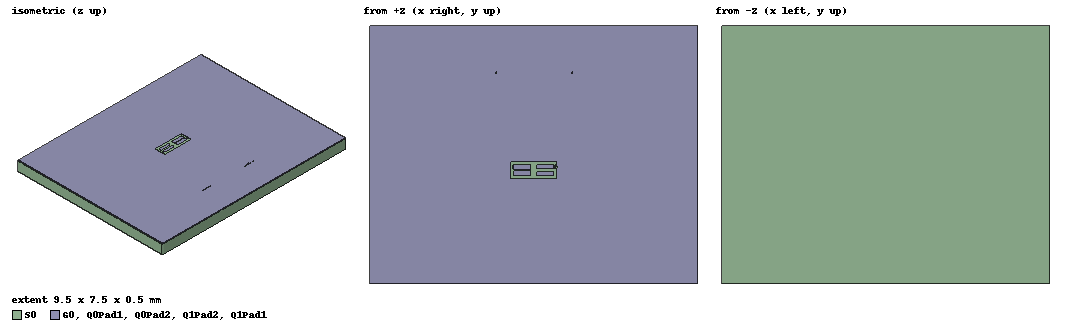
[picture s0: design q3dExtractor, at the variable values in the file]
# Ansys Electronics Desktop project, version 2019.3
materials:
  vacuum: permittivity=1
  copper: permeability=0.999991 conductivity=58000000
  silicon: permittivity=11.9
  perfect conductor: conductivity=1e+30

design q3dExtractor (Q3D Extractor, model units mm)
options: SParamCalcMethod=EqTransLine Calculate_Lossy_Dielectrics
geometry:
  S0 [silicon] = polyline(z=0um, xy in um: (-4750, -3750) (-4750, 3750) (4750, 3750) (4750, -3750) (-4750, -3750), closed, covered)
  S0.sweep_along_vector((0mm, 0mm, 500um))
  G0 [perfect conductor] = polyline(z=500um, xy in um: (-4750, -3750) (-4750, 3750) (4750, 3750) (4750, -3750) (-4750, -3750), closed, covered)
  Q0Pad1 [perfect conductor] = polyline(z=500um, xy in um: (-580, -435) (-580, -295) (-80, -295) (-80, -435) (-328, -435) (-328, -446) (-332, -446) (-332, -435) (-580, -435), closed, covered)
  Q0Pad1TrenchComponent = polyline(z=499.9um, xy in um: (-580, -435) (-580, -295) (-80, -295) (-80, -435) (-328, -435) (-328, -446) (-332, -446) (-332, -435) (-580, -435), closed, covered)
  Q0Pad1TrenchPeriphery0 = polyline(z=499.9um, xy in um: (-680, -535) (-680, -195) (20, -195) (20, -535) (-680, -535), closed, covered)
  Q0Pad1TrenchPeriphery1 = polyline(z=499.9um, xy in um: (-362, -450) (-362, -435) (-298, -435) (-298, -450) (-362, -450), closed, covered)
  Q0Pad1TrenchPeriphery0.sweep_along_vector((0mm, 0mm, 0.1um))
  S0.subtract(Q0Pad1TrenchPeriphery0)
  Q0Pad1TrenchPeriphery1.sweep_along_vector((0mm, 0mm, 0.1um))
  S0.subtract(Q0Pad1TrenchPeriphery1)
  Q0Pad1periphery0 = polyline(z=500um, xy in um: (-680, -535) (-680, -195) (20, -195) (20, -535) (-680, -535), closed, covered)
  G0.subtract(Q0Pad1periphery0)
  Q0Pad1periphery1 = polyline(z=500um, xy in um: (-362, -450) (-362, -435) (-298, -435) (-298, -450) (-362, -450), closed, covered)
  G0.subtract(Q0Pad1periphery1)
  Q0Pad2 [perfect conductor] = polyline(z=500um, xy in um: (-80, -465) (-80, -605) (-580, -605) (-580, -465) (-332, -465) (-332, -454) (-328, -454) (-328, -465) (-80, -465), closed, covered)
  Q0Pad2TrenchComponent = polyline(z=499.9um, xy in um: (-80, -465) (-80, -605) (-580, -605) (-580, -465) (-332, -465) (-332, -454) (-328, -454) (-328, -465) (-80, -465), closed, covered)
  Q0Pad2TrenchPeriphery0 = polyline(z=499.9um, xy in um: (20, -365) (20, -705) (-680, -705) (-680, -365) (20, -365), closed, covered)
  Q0Pad2TrenchPeriphery1 = polyline(z=499.9um, xy in um: (-298, -450) (-298, -465) (-362, -465) (-362, -450) (-298, -450), closed, covered)
  Q0Pad2TrenchPeriphery0.sweep_along_vector((0mm, 0mm, 0.1um))
  S0.subtract(Q0Pad2TrenchPeriphery0)
  Q0Pad2TrenchPeriphery1.sweep_along_vector((0mm, 0mm, 0.1um))
  S0.subtract(Q0Pad2TrenchPeriphery1)
  Q0Pad2periphery0 = polyline(z=500um, xy in um: (20, -365) (20, -705) (-680, -705) (-680, -365) (20, -365), closed, covered)
  G0.subtract(Q0Pad2periphery0)
  Q0Pad2periphery1 = polyline(z=500um, xy in um: (-298, -450) (-298, -465) (-362, -465) (-362, -450) (-298, -450), closed, covered)
  G0.subtract(Q0Pad2periphery1)
  Q1Pad1 [perfect conductor] = polyline(z=500um, xy in um: (80, -417) (80, -297) (580, -297) (580, -417) (332, -417) (332, -446) (328, -446) (328, -417) (80, -417), closed, covered)
  Q1Pad1TrenchComponent = polyline(z=499.9um, xy in um: (80, -417) (80, -297) (580, -297) (580, -417) (332, -417) (332, -446) (328, -446) (328, -417) (80, -417), closed, covered)
  Q1Pad1TrenchPeriphery0 = polyline(z=499.9um, xy in um: (-20, -517) (-20, -195) (680, -195) (680, -517) (-20, -517), closed, covered)
  Q1Pad1TrenchPeriphery1 = polyline(z=499.9um, xy in um: (298, -450) (298, -417) (362, -417) (362, -450) (298, -450), closed, covered)
  Q1Pad1TrenchPeriphery0.sweep_along_vector((0mm, 0mm, 0.1um))
  S0.subtract(Q1Pad1TrenchPeriphery0)
  Q1Pad1TrenchPeriphery1.sweep_along_vector((0mm, 0mm, 0.1um))
  S0.subtract(Q1Pad1TrenchPeriphery1)
  Q1Pad1periphery0 = polyline(z=500um, xy in um: (-20, -517) (-20, -195) (680, -195) (680, -517) (-20, -517), closed, covered)
  G0.subtract(Q1Pad1periphery0)
  Q1Pad1periphery1 = polyline(z=500um, xy in um: (298, -450) (298, -417) (362, -417) (362, -450) (298, -450), closed, covered)
  G0.subtract(Q1Pad1periphery1)
  Q1Pad2 [perfect conductor] = polyline(z=500um, xy in um: (580, -483) (580, -603) (80, -603) (80, -483) (328, -483) (328, -454) (332, -454) (332, -483) (580, -483), closed, covered)
  Q1Pad2TrenchComponent = polyline(z=499.9um, xy in um: (580, -483) (580, -603) (80, -603) (80, -483) (328, -483) (328, -454) (332, -454) (332, -483) (580, -483), closed, covered)
  Q1Pad2TrenchPeriphery0 = polyline(z=499.9um, xy in um: (680, -383) (680, -705) (-20, -705) (-20, -383) (680, -383), closed, covered)
  Q1Pad2TrenchPeriphery1 = polyline(z=499.9um, xy in um: (362, -450) (362, -483) (298, -483) (298, -450) (362, -450), closed, covered)
  Q1Pad2TrenchPeriphery0.sweep_along_vector((0mm, 0mm, 0.1um))
  S0.subtract(Q1Pad2TrenchPeriphery0)
  Q1Pad2TrenchPeriphery1.sweep_along_vector((0mm, 0mm, 0.1um))
  S0.subtract(Q1Pad2TrenchPeriphery1)
  Q1Pad2periphery0 = polyline(z=500um, xy in um: (680, -383) (680, -705) (-20, -705) (-20, -383) (680, -383), closed, covered)
  G0.subtract(Q1Pad2periphery0)
  Q1Pad2periphery1 = polyline(z=500um, xy in um: (362, -450) (362, -483) (298, -483) (298, -450) (362, -450), closed, covered)
  G0.subtract(Q1Pad2periphery1)
  R0Pad1 [perfect conductor] = polyline(z=500um, xy in um: (-895, 2406) (-895, 2396) (-1090, 2396) (-1090, 2371) (-1090, 2371) (-1090, 2346) (-1100, 2346) (-1100, 2371) (-1100, 2371) (-1100, 2396) (-1295, 2396) (-1295, 2406) (-895, 2406), closed, covered)
  R0Pad1TrenchComponent = polyline(z=499.9um, xy in um: (-895, 2406) (-895, 2396) (-1090, 2396) (-1090, 2371) (-1090, 2371) (-1090, 2346) (-1100, 2346) (-1100, 2371) (-1100, 2371) (-1100, 2396) (-1295, 2396) (-1295, 2406) (-895, 2406), closed, covered)
  R0Pad1TrenchPeriphery0 = polyline(z=499.9um, xy in um: (-871, 2412) (-871, 2390) (-1319, 2390) (-1319, 2412) (-871, 2412), closed, covered)
  R0Pad1TrenchPeriphery1 = polyline(z=499.9um, xy in um: (-1084, 2402) (-1084, 2365) (-1106, 2365) (-1106, 2402) (-1084, 2402), closed, covered)
  R0Pad1TrenchPeriphery2 = polyline(z=499.9um, xy in um: (-1084, 2372) (-1084, 2345) (-1106, 2345) (-1106, 2372) (-1084, 2372), closed, covered)
  R0Pad1TrenchPeriphery0.sweep_along_vector((0mm, 0mm, 0.1um))
  S0.subtract(R0Pad1TrenchPeriphery0)
  R0Pad1TrenchPeriphery1.sweep_along_vector((0mm, 0mm, 0.1um))
  S0.subtract(R0Pad1TrenchPeriphery1)
  R0Pad1TrenchPeriphery2.sweep_along_vector((0mm, 0mm, 0.1um))
  S0.subtract(R0Pad1TrenchPeriphery2)
  R0Pad1periphery0 = polyline(z=500um, xy in um: (-871, 2412) (-871, 2390) (-1319, 2390) (-1319, 2412) (-871, 2412), closed, covered)
  G0.subtract(R0Pad1periphery0)
  R0Pad1periphery1 = polyline(z=500um, xy in um: (-1084, 2402) (-1084, 2365) (-1106, 2365) (-1106, 2402) (-1084, 2402), closed, covered)
  G0.subtract(R0Pad1periphery1)
  R0Pad1periphery2 = polyline(z=500um, xy in um: (-1084, 2372) (-1084, 2345) (-1106, 2345) (-1106, 2372) (-1084, 2372), closed, covered)
  G0.subtract(R0Pad1periphery2)
  R0Pad2 [perfect conductor] = polyline(z=500um, xy in um: (-588.46475, -400.53525) (-618.46475, -400.53525) (-618.46475, -355.53525) (-643.46475, -355.53525) (-643.46475, -355.53525) (-668.46475, -355.53525) (-668.46475, -345.53525) (-643.46475, -345.53525) (-643.46475, -345.53525) (-618.46475, -345.53525) (-618.46475, -300.53525) (-588.46475, -300.53525) (-588.46475, -400.53525), closed, covered)
  R0Pad2TrenchComponent = polyline(z=499.9um, xy in um: (-588.46475, -400.53525) (-618.46475, -400.53525) (-618.46475, -355.53525) (-643.46475, -355.53525) (-643.46475, -355.53525) (-668.46475, -355.53525) (-668.46475, -345.53525) (-643.46475, -345.53525) (-643.46475, -345.53525) (-618.46475, -345.53525) (-618.46475, -300.53525) (-588.46475, -300.53525) (-588.46475, -400.53525), closed, covered)
  R0Pad2TrenchPeriphery0 = polyline(z=499.9um, xy in um: (-558.46475, -430.53525) (-648.46475, -430.53525) (-648.46475, -270.53525) (-558.46475, -270.53525) (-558.46475, -430.53525), closed, covered)
  R0Pad2TrenchPeriphery1 = polyline(z=499.9um, xy in um: (-612.46475, -361.53525) (-649.46475, -361.53525) (-649.46475, -339.53525) (-612.46475, -339.53525) (-612.46475, -361.53525), closed, covered)
  R0Pad2TrenchPeriphery2 = polyline(z=499.9um, xy in um: (-642.46475, -361.53525) (-669.46475, -361.53525) (-669.46475, -339.53525) (-642.46475, -339.53525) (-642.46475, -361.53525), closed, covered)
  R0Pad2TrenchPeriphery0.sweep_along_vector((0mm, 0mm, 0.1um))
  S0.subtract(R0Pad2TrenchPeriphery0)
  R0Pad2TrenchPeriphery1.sweep_along_vector((0mm, 0mm, 0.1um))
  S0.subtract(R0Pad2TrenchPeriphery1)
  R0Pad2TrenchPeriphery2.sweep_along_vector((0mm, 0mm, 0.1um))
  S0.subtract(R0Pad2TrenchPeriphery2)
  R0Pad2periphery0 = polyline(z=500um, xy in um: (-558.46475, -430.53525) (-648.46475, -430.53525) (-648.46475, -270.53525) (-558.46475, -270.53525) (-558.46475, -430.53525), closed, covered)
  G0.subtract(R0Pad2periphery0)
  R0Pad2periphery1 = polyline(z=500um, xy in um: (-612.46475, -361.53525) (-649.46475, -361.53525) (-649.46475, -339.53525) (-612.46475, -339.53525) (-612.46475, -361.53525), closed, covered)
  G0.subtract(R0Pad2periphery1)
  R0Pad2periphery2 = polyline(z=500um, xy in um: (-642.46475, -361.53525) (-669.46475, -361.53525) (-669.46475, -339.53525) (-642.46475, -339.53525) (-642.46475, -361.53525), closed, covered)
  G0.subtract(R0Pad2periphery2)
  R1Pad1 [perfect conductor] = polyline(z=500um, xy in um: (1315, 2406) (1315, 2396) (1120, 2396) (1120, 2371) (1120, 2371) (1120, 2346) (1110, 2346) (1110, 2371) (1110, 2371) (1110, 2396) (915, 2396) (915, 2406) (1315, 2406), closed, covered)
  R1Pad1TrenchComponent = polyline(z=499.9um, xy in um: (1315, 2406) (1315, 2396) (1120, 2396) (1120, 2371) (1120, 2371) (1120, 2346) (1110, 2346) (1110, 2371) (1110, 2371) (1110, 2396) (915, 2396) (915, 2406) (1315, 2406), closed, covered)
  R1Pad1TrenchPeriphery0 = polyline(z=499.9um, xy in um: (1339, 2412) (1339, 2390) (891, 2390) (891, 2412) (1339, 2412), closed, covered)
  R1Pad1TrenchPeriphery1 = polyline(z=499.9um, xy in um: (1126, 2402) (1126, 2365) (1104, 2365) (1104, 2402) (1126, 2402), closed, covered)
  R1Pad1TrenchPeriphery2 = polyline(z=499.9um, xy in um: (1126, 2372) (1126, 2345) (1104, 2345) (1104, 2372) (1126, 2372), closed, covered)
  R1Pad1TrenchPeriphery0.sweep_along_vector((0mm, 0mm, 0.1um))
  S0.subtract(R1Pad1TrenchPeriphery0)
  R1Pad1TrenchPeriphery1.sweep_along_vector((0mm, 0mm, 0.1um))
  S0.subtract(R1Pad1TrenchPeriphery1)
  R1Pad1TrenchPeriphery2.sweep_along_vector((0mm, 0mm, 0.1um))
  S0.subtract(R1Pad1TrenchPeriphery2)
  R1Pad1periphery0 = polyline(z=500um, xy in um: (1339, 2412) (1339, 2390) (891, 2390) (891, 2412) (1339, 2412), closed, covered)
  G0.subtract(R1Pad1periphery0)
  R1Pad1periphery1 = polyline(z=500um, xy in um: (1126, 2402) (1126, 2365) (1104, 2365) (1104, 2402) (1126, 2402), closed, covered)
  G0.subtract(R1Pad1periphery1)
  R1Pad1periphery2 = polyline(z=500um, xy in um: (1126, 2372) (1126, 2345) (1104, 2345) (1104, 2372) (1126, 2372), closed, covered)
  G0.subtract(R1Pad1periphery2)
  R1Pad2 [perfect conductor] = polyline(z=500um, xy in um: (608.14644, -301.35356) (638.14644, -301.35356) (638.14644, -346.35356) (663.14644, -346.35356) (663.14644, -346.35356) (688.14644, -346.35356) (688.14644, -356.35356) (663.14644, -356.35356) (663.14644, -356.35356) (638.14644, -356.35356) (638.14644, -401.35356) (608.14644, -401.35356) (608.14644, -301.35356), closed, covered)
  R1Pad2TrenchComponent = polyline(z=499.9um, xy in um: (608.14644, -301.35356) (638.14644, -301.35356) (638.14644, -346.35356) (663.14644, -346.35356) (663.14644, -346.35356) (688.14644, -346.35356) (688.14644, -356.35356) (663.14644, -356.35356) (663.14644, -356.35356) (638.14644, -356.35356) (638.14644, -401.35356) (608.14644, -401.35356) (608.14644, -301.35356), closed, covered)
  R1Pad2TrenchPeriphery0 = polyline(z=499.9um, xy in um: (578.14644, -271.35356) (668.14644, -271.35356) (668.14644, -431.35356) (578.14644, -431.35356) (578.14644, -271.35356), closed, covered)
  R1Pad2TrenchPeriphery1 = polyline(z=499.9um, xy in um: (632.14644, -340.35356) (669.14644, -340.35356) (669.14644, -362.35356) (632.14644, -362.35356) (632.14644, -340.35356), closed, covered)
  R1Pad2TrenchPeriphery2 = polyline(z=499.9um, xy in um: (662.14644, -340.35356) (689.14644, -340.35356) (689.14644, -362.35356) (662.14644, -362.35356) (662.14644, -340.35356), closed, covered)
  R1Pad2TrenchPeriphery0.sweep_along_vector((0mm, 0mm, 0.1um))
  S0.subtract(R1Pad2TrenchPeriphery0)
  R1Pad2TrenchPeriphery1.sweep_along_vector((0mm, 0mm, 0.1um))
  S0.subtract(R1Pad2TrenchPeriphery1)
  R1Pad2TrenchPeriphery2.sweep_along_vector((0mm, 0mm, 0.1um))
  S0.subtract(R1Pad2TrenchPeriphery2)
  R1Pad2periphery0 = polyline(z=500um, xy in um: (578.14644, -271.35356) (668.14644, -271.35356) (668.14644, -431.35356) (578.14644, -431.35356) (578.14644, -271.35356), closed, covered)
  G0.subtract(R1Pad2periphery0)
  R1Pad2periphery1 = polyline(z=500um, xy in um: (632.14644, -340.35356) (669.14644, -340.35356) (669.14644, -362.35356) (632.14644, -362.35356) (632.14644, -340.35356), closed, covered)
  G0.subtract(R1Pad2periphery1)
  R1Pad2periphery2 = polyline(z=500um, xy in um: (662.14644, -340.35356) (689.14644, -340.35356) (689.14644, -362.35356) (662.14644, -362.35356) (662.14644, -340.35356), closed, covered)
  G0.subtract(R1Pad2periphery2)
  Q0Pad1TrenchComponent.sweep_along_vector((0mm, 0mm, 0.1um))
  S0.unite(Q0Pad1TrenchComponent)
  Q0Pad2TrenchComponent.sweep_along_vector((0mm, 0mm, 0.1um))
  S0.unite(Q0Pad2TrenchComponent)
  Q1Pad1TrenchComponent.sweep_along_vector((0mm, 0mm, 0.1um))
  S0.unite(Q1Pad1TrenchComponent)
  Q1Pad2TrenchComponent.sweep_along_vector((0mm, 0mm, 0.1um))
  S0.unite(Q1Pad2TrenchComponent)
  R0Pad1TrenchComponent.sweep_along_vector((0mm, 0mm, 0.1um))
  S0.unite(R0Pad1TrenchComponent)
  R0Pad2TrenchComponent.sweep_along_vector((0mm, 0mm, 0.1um))
  S0.unite(R0Pad2TrenchComponent)
  R1Pad1TrenchComponent.sweep_along_vector((0mm, 0mm, 0.1um))
  S0.unite(R1Pad1TrenchComponent)
  R1Pad2TrenchComponent.sweep_along_vector((0mm, 0mm, 0.1um))
  S0.unite(R1Pad2TrenchComponent)
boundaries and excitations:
  ThinCondQ0Pad1: ThinConductor Objects=Q0Pad1 Material="perfect conductor" Thickness=0.1um
  Q0Pad1: SignalNet Objects=Q0Pad1
  ThinCondQ0Pad2: ThinConductor Objects=Q0Pad2 Material="perfect conductor" Thickness=0.1um
  Q0Pad2: SignalNet Objects=Q0Pad2
  ThinCondQ1Pad1: ThinConductor Objects=Q1Pad1 Material="perfect conductor" Thickness=0.1um
  Q1Pad1: SignalNet Objects=Q1Pad1
  ThinCondQ1Pad2: ThinConductor Objects=Q1Pad2 Material="perfect conductor" Thickness=0.1um
  Q1Pad2: SignalNet Objects=Q1Pad2
  ThinCondR0Pad1: ThinConductor Objects=R0Pad1 Material="perfect conductor" Thickness=0.1um
  R0Pad1: SignalNet Objects=R0Pad1
  ThinCondR0Pad2: ThinConductor Objects=R0Pad2 Material="perfect conductor" Thickness=0.1um
  R0Pad2: SignalNet Objects=R0Pad2
  ThinCondR1Pad1: ThinConductor Objects=R1Pad1 Material="perfect conductor" Thickness=0.1um
  R1Pad1: SignalNet Objects=R1Pad1
  ThinCondR1Pad2: ThinConductor Objects=R1Pad2 Material="perfect conductor" Thickness=0.1um
  R1Pad2: SignalNet Objects=R1Pad2
  ThinCondG0: ThinConductor Objects=G0 Material="perfect conductor" Thickness=0.1um
  GroundNet1: GroundNet Objects=G0
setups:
  capSim: Matrix AdaptiveFreq=5GHz Cap{MaxPass=99 MinPass=1 MinConvPass=1 PerError=1 PerRefine=100 AutoIncreaseSolutionOrder SolutionOrder=High Solver_Type=Iterative}
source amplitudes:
  Q0Pad1: Cap 1V 0deg
  Q0Pad2, Q1Pad1, Q1Pad2, R0Pad1, R0Pad2, R1Pad1, R1Pad2: Cap 0V 0deg
